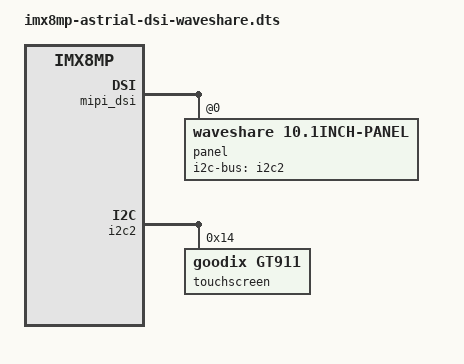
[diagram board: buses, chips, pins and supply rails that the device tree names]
// SPDX-License-Identifier: (GPL-2.0+ OR MIT)
/*
 * Copyright 2019 NXP
 * Copyright 2024 Koan Software
 */

/dts-v1/;

#include "imx8mp-astrial-base.dtsi"

&iomuxc {
	pinctrl-0 = <
		&pinctrl_hog
		&pinctrl_gpio_flexcan2
		&pinctrl_gpio_spi2
		&pinctrl_gpio_uart3
		&pinctrl_gpio_sdhc1
	>;
};

&mipi_dsi {
	#address-cells = <1>;
	#size-cells = <0>;
	status = "okay";

	panel@0 {
		compatible = "waveshare,10.1inch-panel";
		reg = <0>;
		i2c-bus = <&i2c2>;
		status = "okay";
	};
};

/*
 * Capacitive touch (Goodix GT9271) on the Waveshare panel control I2C (i2c2,
 * same bus as the panel MCU). The touch INT is NOT routed to the SoC on this
 * carrier -> no "interrupts" here: client->irq is 0 and the (patched) goodix
 * driver falls back to polling the coordinates over I2C (see goodix.c,
 * GOODIX_POLL_INTERVAL_MS). No reset either (the controller already answers at
 * 0x14). The touch is rotated 90 deg vs the display -> swap X/Y and invert X so
 * raw maps to the 1280x800 landscape panel (same mapping as the imx95 Astrial).
 */
&i2c2 {
	touchscreen@14 {
		compatible = "goodix,gt911";
		reg = <0x14>;
		touchscreen-swapped-x-y;
		touchscreen-inverted-x;
	};
};
